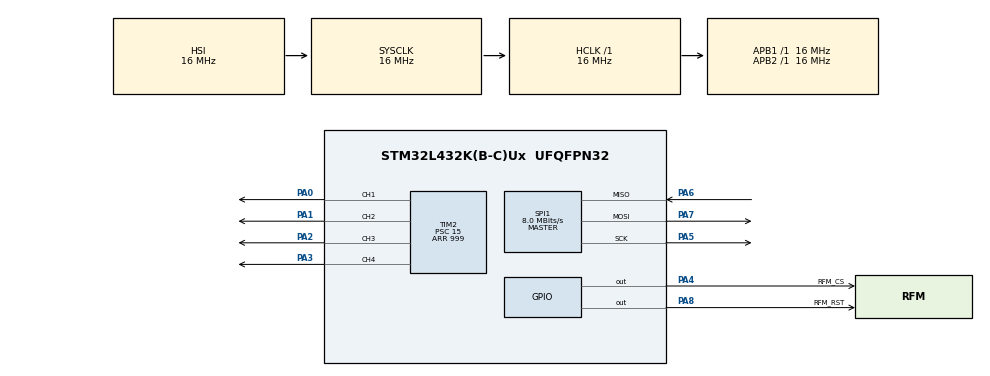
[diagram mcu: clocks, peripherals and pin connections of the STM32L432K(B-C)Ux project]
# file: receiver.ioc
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Mcu.Family=STM32L4
Mcu.Name=STM32L432K(B-C)Ux
Mcu.Package=UFQFPN32
NVIC.PriorityGroup=NVIC_PRIORITYGROUP_4
PA0.Signal=S_TIM2_CH1
PA1.Signal=S_TIM2_CH2
PA2.Signal=S_TIM2_CH3
PA3.Signal=S_TIM2_CH4
PA4.GPIO_Label=RFM_CS
PA4.Signal=GPIO_Output
PA5.Mode=Full_Duplex_Master
PA5.Signal=SPI1_SCK
PA6.Mode=Full_Duplex_Master
PA6.Signal=SPI1_MISO
PA7.Mode=Full_Duplex_Master
PA7.Signal=SPI1_MOSI
PA8.GPIO_Label=RFM_RST
PA8.Signal=GPIO_Output
ProjectManager.HeapSize=0x200
ProjectManager.StackSize=0x400
ProjectManager.TargetToolchain=STM32CubeIDE
RCC.AHBFreq_Value=16000000
RCC.APB1Freq_Value=16000000
RCC.APB1TimFreq_Value=16000000
RCC.APB2Freq_Value=16000000
RCC.APB2TimFreq_Value=16000000
RCC.CortexFreq_Value=16000000
RCC.HCLKFreq_Value=16000000
RCC.HSE_VALUE=8000000
RCC.HSI48_VALUE=48000000
RCC.HSI_VALUE=16000000
RCC.LSE_VALUE=32768
RCC.MSI_VALUE=4000000
RCC.SYSCLKFreq_VALUE=16000000
RCC.SYSCLKSource=RCC_SYSCLKSOURCE_HSI
RCC.VCOOutputFreq_Value=32000000
SH.S_TIM2_CH1.0=TIM2_CH1,PWM Generation1 CH1
SH.S_TIM2_CH2.0=TIM2_CH2,PWM Generation2 CH2
SH.S_TIM2_CH3.0=TIM2_CH3,PWM Generation3 CH3
SH.S_TIM2_CH4.0=TIM2_CH4,PWM Generation4 CH4
SPI1.CalculateBaudRate=8.0 MBits/s
SPI1.DataSize=SPI_DATASIZE_8BIT
SPI1.Direction=SPI_DIRECTION_2LINES
SPI1.Mode=SPI_MODE_MASTER
SPI1.VirtualType=VM_MASTER
TIM2.Channel-PWM\ Generation1\ CH1=TIM_CHANNEL_1
TIM2.Channel-PWM\ Generation2\ CH2=TIM_CHANNEL_2
TIM2.Channel-PWM\ Generation3\ CH3=TIM_CHANNEL_3
TIM2.Channel-PWM\ Generation4\ CH4=TIM_CHANNEL_4
TIM2.Period=999
TIM2.Prescaler=15
VP_TIM2_VS_ClockSourceINT.Mode=Internal
board=custom

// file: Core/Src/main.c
/* USER CODE BEGIN Header */
/**
  ******************************************************************************
  * @file           : main.c
  * @brief          : Main program body
  ******************************************************************************
  * @attention
  *
  * Copyright (c) 2025 STMicroelectronics.
  * All rights reserved.
  *
  * This software is licensed under terms that can be found in the LICENSE file
  * in the root directory of this software component.
  * If no LICENSE file comes with this software, it is provided AS-IS.
  *
  ******************************************************************************
  */
/* USER CODE END Header */
#include "main.h"
#include "spi.h"
#include "tim.h"
#include "gpio.h"

/* USER CODE BEGIN PD */
#define FXOSC		32000000
#define BITRATE		9600

#define RFM_CS		GPIO_PIN_4
#define RFM_RST		GPIO_PIN_8

#define TIM2_ARR	999
/* USER CODE END PD */

void SystemClock_Config(void);
/* USER CODE BEGIN PFP */
void rfm_config();
void rfm_select();
void rfm_deselect();
void rfm_reset();

void rfm_write_reg(uint8_t addr, uint8_t byte);
uint8_t rfm_read_reg(uint8_t addr);
uint8_t rfm_check_reg(uint8_t addr, uint8_t byte);

uint8_t rfm_read_rssi();
void rfm_read_fifo(uint8_t * data, uint8_t len);
void rfm_wait_packet_received();

// TIM2CH0	PA0 (A0)
// TIM2CH1 	PA1 (A1)
// TIM2CH2 	PA2 (A7)
// TIM2CH4 	PA3 (A2)

/* USER CODE END PFP */

int main(void)
{

  /* MCU Configuration--------------------------------------------------------*/

  /* Reset of all peripherals, Initializes the Flash interface and the Systick. */
  HAL_Init();

  /* Configure the system clock */
  SystemClock_Config();

  /* Initialize all configured peripherals */
  MX_GPIO_Init();
  MX_SPI1_Init();
  MX_TIM2_Init();
  /* USER CODE BEGIN 2 */
  rfm_deselect();
  rfm_reset();

  rfm_config();

  HAL_TIM_PWM_Start(&htim2, TIM_CHANNEL_1);
  HAL_TIM_PWM_Start(&htim2, TIM_CHANNEL_2);
  HAL_TIM_PWM_Start(&htim2, TIM_CHANNEL_3);
  HAL_TIM_PWM_Start(&htim2, TIM_CHANNEL_4);
  /* USER CODE END 2 */

  /* Infinite loop */
  /* USER CODE BEGIN WHILE */
  while (1)
  {

	// wait until data is received...
	uint8_t motors[4];
	rfm_wait_packet_received();
	rfm_read_fifo(motors, 4);

	motor_left_set_duty(motors[2], motors[0]);
	motor_right_set_duty(motors[3], motors[1]);
    /* USER CODE END WHILE */

  }
}

void SystemClock_Config(void)
{
  RCC_OscInitTypeDef RCC_OscInitStruct = {0};
  RCC_ClkInitTypeDef RCC_ClkInitStruct = {0};

  /** Configure the main internal regulator output voltage
  */
  if (HAL_PWREx_ControlVoltageScaling(PWR_REGULATOR_VOLTAGE_SCALE1) != HAL_OK)
  {
    Error_Handler();
  }

  /** Initializes the RCC Oscillators according to the specified parameters
  * in the RCC_OscInitTypeDef structure.
  */
  RCC_OscInitStruct.OscillatorType = RCC_OSCILLATORTYPE_HSI;
  RCC_OscInitStruct.HSIState = RCC_HSI_ON;
  RCC_OscInitStruct.HSICalibrationValue = RCC_HSICALIBRATION_DEFAULT;
  RCC_OscInitStruct.PLL.PLLState = RCC_PLL_NONE;
  if (HAL_RCC_OscConfig(&RCC_OscInitStruct) != HAL_OK)
  {
    Error_Handler();
  }

  /** Initializes the CPU, AHB and APB buses clocks
  */
  RCC_ClkInitStruct.ClockType = RCC_CLOCKTYPE_HCLK|RCC_CLOCKTYPE_SYSCLK
                              |RCC_CLOCKTYPE_PCLK1|RCC_CLOCKTYPE_PCLK2;
  RCC_ClkInitStruct.SYSCLKSource = RCC_SYSCLKSOURCE_HSI;
  RCC_ClkInitStruct.AHBCLKDivider = RCC_SYSCLK_DIV1;
  RCC_ClkInitStruct.APB1CLKDivider = RCC_HCLK_DIV1;
  RCC_ClkInitStruct.APB2CLKDivider = RCC_HCLK_DIV1;

  if (HAL_RCC_ClockConfig(&RCC_ClkInitStruct, FLASH_LATENCY_0) != HAL_OK)
  {
    Error_Handler();
  }
}

/* USER CODE BEGIN 4 */
void rfm_config()
{
	// Start in Standby mode
	// Mode in RegOpMode = 001
	// ListenOn in RegOpMode = 0
	rfm_write_reg(0x01, 0x04);

	// wait until receiver goes into standby mode
	while (!(rfm_read_reg(0x27) & 0x80));

	// Packet Mode, uC does not directly control modulation
	// FSK Modulation, no modulation shaping
	rfm_write_reg(0x02, 0x00);

	uint16_t bitrate = FXOSC / BITRATE;
	rfm_write_reg(0x03, (uint8_t) (bitrate >> 8));
	rfm_write_reg(0x04, (uint8_t) bitrate);

	// 5 kHz frequency deviation
	rfm_write_reg(0x05, 0x00);
	rfm_write_reg(0x06, 0x52);

	// RF Carrier Frequency - 915 MHz
	rfm_write_reg(0x07, 0xE4);
	rfm_write_reg(0x08, 0xC0);
	rfm_write_reg(0x09, 0x00);

	// Improved AFC routine
	rfm_write_reg(0x0B, 0x20);

	// enable overcurrent protection and disable high power (receive only)
	rfm_write_reg(0x13, 0x1A);
	rfm_write_reg(0x5A, 0x55);
	rfm_write_reg(0x5C, 0x70);

	// set LNA Z to 50 ohms
	rfm_write_reg(0x18, 0x80);

	// set RX bandwidth to 41.7kHz
	rfm_write_reg(0x19, 0x55);

	// AFC performed every time RX mode is entered
	rfm_write_reg(0x1E, 0x04);

	// PayloadReady on DIO0
	// Sync Address
	rfm_write_reg(0x25, 0x40);

	// ~-75dBm RSSI threshold
	rfm_write_reg(0x29, 75 * 2);

	// Preamble and Sync configuration
	rfm_write_reg(0x2C, 0x00); 			// Preamble MSB
	rfm_write_reg(0x2D, 0x08); 			// Preamble LSB (8 bytes)
	rfm_write_reg(0x2E, 0x88); 			// SyncConfig: Sync on
	rfm_write_reg(0x2F, 0x2D); 			// Sync Value 1
	rfm_write_reg(0x30, 0xD4); 			// Sync Value 2

	// Packet Configuration settings
	// Fixed length packets
	// CRC on
	// No address filtering
	rfm_write_reg(0x37, 0x10);

	// Payload length: 4 bytes
	rfm_write_reg(0x38, 4);

	// Set FIFO threshold
	rfm_write_reg(0x3C, 0x8F);

	// automatically restart receiver after receiving packet
	rfm_write_reg(0x3D, 0x02);

	// clear out garbage from FIFO
	while (rfm_read_reg(0x28) & 0x40)
	{
		(void)rfm_read_reg(0x00);
	}

	// Switch to Receive Mode: 100
	rfm_write_reg(0x01, 0x10);

	// wait until ModeReady bit is set
	while (!(rfm_read_reg(0x27) & 0x80));
}

void rfm_select()
{
	HAL_GPIO_WritePin(GPIOA, RFM_CS, GPIO_PIN_RESET);
}

void rfm_deselect()
{
	HAL_GPIO_WritePin(GPIOA, RFM_CS, GPIO_PIN_SET);
}

void rfm_reset()
{
	HAL_GPIO_WritePin(GPIOA, RFM_RST, GPIO_PIN_SET);
	HAL_Delay(1);
	HAL_GPIO_WritePin(GPIOA, RFM_RST, GPIO_PIN_RESET);
	HAL_Delay(10);
}

void rfm_write_reg(uint8_t addr, uint8_t byte)
{
	// MSB of addr must be 1 on write
	uint8_t buff[2] = {addr | 0x80, byte};

	rfm_select();
	HAL_SPI_Transmit(&hspi1, buff, 2, 1000);
	rfm_deselect();
}

uint8_t rfm_read_reg(uint8_t addr)
{

	// MSB must be 0 for read
	addr &= ~0x80;

	uint8_t send_buff[2] = {addr, 0};
	uint8_t rcv_buff[2];

	rfm_select();
	HAL_SPI_TransmitReceive(&hspi1, send_buff, rcv_buff, 2, 1000);
	rfm_deselect();

	return rcv_buff[1];
}

uint8_t rfm_check_reg(uint8_t addr, uint8_t byte)
{
	if (rfm_read_reg(addr) != byte)
		return 1;
	else
		return 0;
}

uint8_t rfm_read_rssi()
{
	rfm_write_reg(0x23, 0x01);
	while (!(rfm_read_reg(0x23) & 0x02));
	return rfm_read_reg(0x24);
}

void rfm_read_fifo(uint8_t * data, uint8_t len)
{
	// read from FIFO the expected number of bytes
	uint8_t rcv_buff[len+1];
	uint8_t send_buff[len+1];

	for (uint8_t i = 0; i < len + 1; i++)
	{
		send_buff[i] = 0;
	}

	rfm_select();
	HAL_SPI_TransmitReceive(&hspi1, send_buff, rcv_buff, len + 1, 1000);
	rfm_deselect();

	for (uint8_t i = 0; i < len; i++)
	{
		data[i] = rcv_buff[i+1];
	}

}

void rfm_wait_packet_received()
{
	while (!(rfm_read_reg(0x28) & 0x04));		// wait until PayloadReady flag is set
}

void motor_left_set_duty(uint8_t dir, uint8_t duty)
{
	if (duty > 100)		duty = 100;

	uint16_t ccr = (uint16_t) (((float) duty / 100.0) * TIM2_ARR);

	if (dir == 1)
	{
		TIM2->CCR1 = 0;
		TIM2->CCR2 = ccr;
	}
	else
	{
		TIM2->CCR1 = ccr;
		TIM2->CCR2 = 0;
	}
}

void motor_right_set_duty(uint8_t dir, uint8_t duty)
{
	if (duty > 100)		duty = 100;

	uint16_t ccr = (uint16_t) (((float) duty / 100.0) * TIM2_ARR);

	if (dir == 1)
	{
		TIM2->CCR3 = 0;
		TIM2->CCR4 = ccr;
	}
	else
	{
		TIM2->CCR3 = ccr;
		TIM2->CCR4 = 0;
	}
}
/* USER CODE END 4 */

void Error_Handler(void)
{
  __disable_irq();
  while (1)
  {
  }
}
